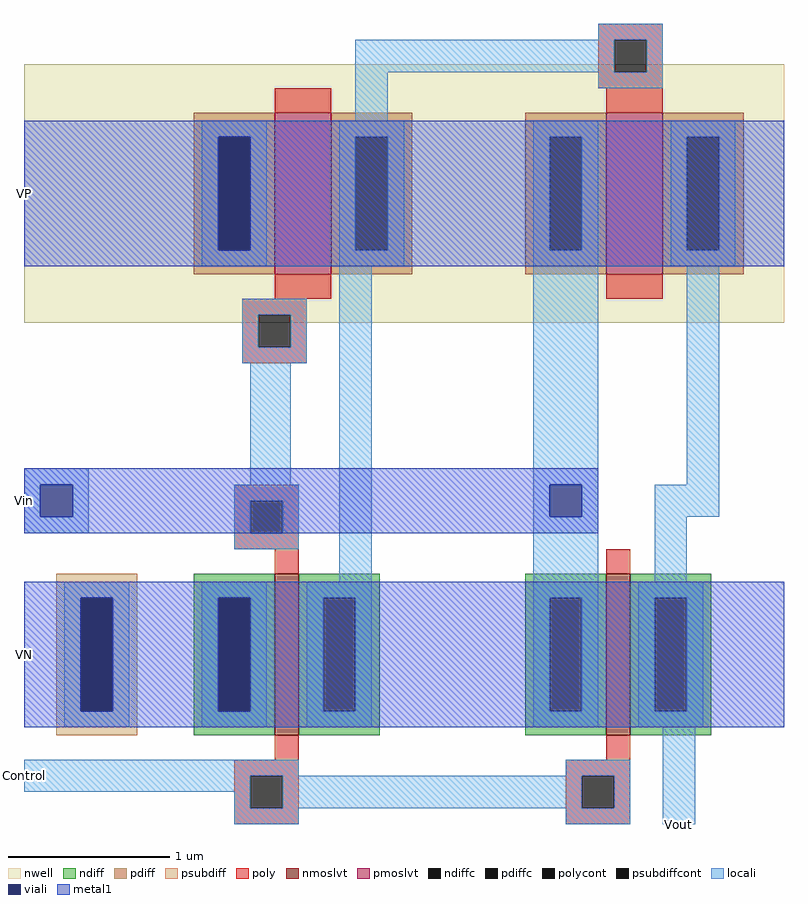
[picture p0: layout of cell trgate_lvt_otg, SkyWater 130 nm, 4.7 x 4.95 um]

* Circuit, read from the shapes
.subckt trgate_lvt_otg VP VN Control Vin Vout
XM1 n1 Control VN VN sky130_fd_pr__nfet_01v8_lvt w=1 l=0.15
XM2 Vout Control Vin VN sky130_fd_pr__nfet_01v8_lvt w=1 l=0.15
XM3 n1 Control VP n2 sky130_fd_pr__pfet_01v8_lvt w=1 l=0.35
XM4 Vout n1 Vin n2 sky130_fd_pr__pfet_01v8_lvt w=1 l=0.35
.ends

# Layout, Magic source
magic
tech sky130A
<< nwell >>
rect -375 135 95 295
<< pmoslvt >>
rect -220 165 -185 265
rect -15 165 20 265
<< nmoslvt >>
rect -220 -120 -205 -20
rect -15 -120 0 -20
<< ndiff >>
rect -270 -35 -220 -20
rect -270 -105 -255 -35
rect -235 -105 -220 -35
rect -270 -120 -220 -105
rect -205 -35 -155 -20
rect -205 -105 -190 -35
rect -170 -105 -155 -35
rect -205 -120 -155 -105
rect -65 -35 -15 -20
rect -65 -105 -50 -35
rect -30 -105 -15 -35
rect -65 -120 -15 -105
rect 0 -35 50 -20
rect 0 -105 15 -35
rect 35 -105 50 -35
rect 0 -120 50 -105
<< pdiff >>
rect -270 250 -220 265
rect -270 180 -255 250
rect -235 180 -220 250
rect -270 165 -220 180
rect -185 250 -135 265
rect -185 180 -170 250
rect -150 180 -135 250
rect -185 165 -135 180
rect -65 250 -15 265
rect -65 180 -50 250
rect -30 180 -15 250
rect -65 165 -15 180
rect 20 250 70 265
rect 20 180 35 250
rect 55 180 70 250
rect 20 165 70 180
<< ndiffc >>
rect -255 -105 -235 -35
rect -190 -105 -170 -35
rect -50 -105 -30 -35
rect 15 -105 35 -35
<< pdiffc >>
rect -255 180 -235 250
rect -170 180 -150 250
rect -50 180 -30 250
rect 35 180 55 250
<< psubdiff >>
rect -355 -35 -305 -20
rect -355 -105 -340 -35
rect -320 -105 -305 -35
rect -355 -120 -305 -105
<< psubdiffcont >>
rect -340 -105 -320 -35
<< poly >>
rect -20 310 20 320
rect -20 290 -10 310
rect 10 290 20 310
rect -20 280 20 290
rect -220 265 -185 280
rect -15 265 20 280
rect -220 150 -185 165
rect -15 150 20 165
rect -240 140 -200 150
rect -240 120 -230 140
rect -210 120 -200 140
rect -240 110 -200 120
rect -245 25 -205 35
rect -245 5 -235 25
rect -215 5 -205 25
rect -245 -5 -205 5
rect -220 -20 -205 -5
rect -15 -20 0 -5
rect -220 -135 -205 -120
rect -15 -135 0 -120
rect -245 -145 -205 -135
rect -245 -165 -235 -145
rect -215 -165 -205 -145
rect -245 -175 -205 -165
rect -40 -145 0 -135
rect -40 -165 -30 -145
rect -10 -165 0 -145
rect -40 -175 0 -165
<< polycont >>
rect -10 290 10 310
rect -230 120 -210 140
rect -235 5 -215 25
rect -235 -165 -215 -145
rect -30 -165 -10 -145
<< locali >>
rect -20 310 20 320
rect -170 290 -10 310
rect 10 290 20 310
rect -170 260 -150 290
rect -20 280 20 290
rect -265 250 -225 260
rect -265 180 -255 250
rect -235 180 -225 250
rect -265 170 -225 180
rect -180 250 -140 260
rect -180 180 -170 250
rect -150 180 -140 250
rect -180 170 -140 180
rect -60 250 -20 260
rect -60 180 -50 250
rect -30 180 -20 250
rect -240 140 -200 150
rect -240 120 -230 140
rect -210 120 -200 140
rect -240 110 -200 120
rect -375 35 -335 45
rect -235 35 -210 110
rect -375 15 -365 35
rect -345 15 -335 35
rect -375 5 -335 15
rect -245 25 -205 35
rect -245 5 -235 25
rect -215 5 -205 25
rect -245 -5 -205 5
rect -180 -25 -160 170
rect -350 -35 -310 -25
rect -350 -105 -340 -35
rect -320 -105 -310 -35
rect -350 -115 -310 -105
rect -265 -35 -225 -25
rect -265 -105 -255 -35
rect -235 -105 -225 -35
rect -265 -115 -225 -105
rect -200 -35 -160 -25
rect -200 -105 -190 -35
rect -170 -105 -160 -35
rect -200 -115 -160 -105
rect -60 35 -20 180
rect 25 250 65 260
rect 25 180 35 250
rect 55 180 65 250
rect 25 170 65 180
rect 35 35 55 170
rect -60 15 -50 35
rect -30 15 -20 35
rect -60 -35 -20 15
rect 15 15 55 35
rect 15 -25 35 15
rect -60 -105 -50 -35
rect -30 -105 -20 -35
rect -60 -115 -20 -105
rect 5 -35 45 -25
rect 5 -105 15 -35
rect 35 -105 45 -35
rect 5 -115 45 -105
rect -375 -145 -205 -135
rect -40 -145 0 -135
rect -375 -155 -235 -145
rect -245 -165 -235 -155
rect -215 -165 -30 -145
rect -10 -165 0 -145
rect -245 -175 -205 -165
rect -40 -175 0 -165
rect 20 -175 40 -115
<< viali >>
rect -255 180 -235 250
rect -365 15 -345 35
rect -340 -105 -320 -35
rect -255 -105 -235 -35
rect -50 15 -30 35
<< metal1 >>
rect -375 250 95 260
rect -375 180 -255 250
rect -235 180 95 250
rect -375 170 95 180
rect -375 35 -20 45
rect -375 15 -365 35
rect -345 15 -50 35
rect -30 15 -20 35
rect -375 5 -20 15
rect -375 -35 95 -25
rect -375 -105 -340 -35
rect -320 -105 -255 -35
rect -235 -105 95 -35
rect -375 -115 95 -105
<< labels >>
rlabel metal1 -375 -70 -375 -70 7 VN
port 2 w
rlabel locali -375 -145 -375 -145 7 Control
port 3 w
rlabel metal1 -375 25 -375 25 7 Vin
port 4 w
rlabel metal1 -375 215 -375 215 7 VP
port 1 w
rlabel locali 30 -175 30 -175 5 Vout
port 5 s
<< end >>
